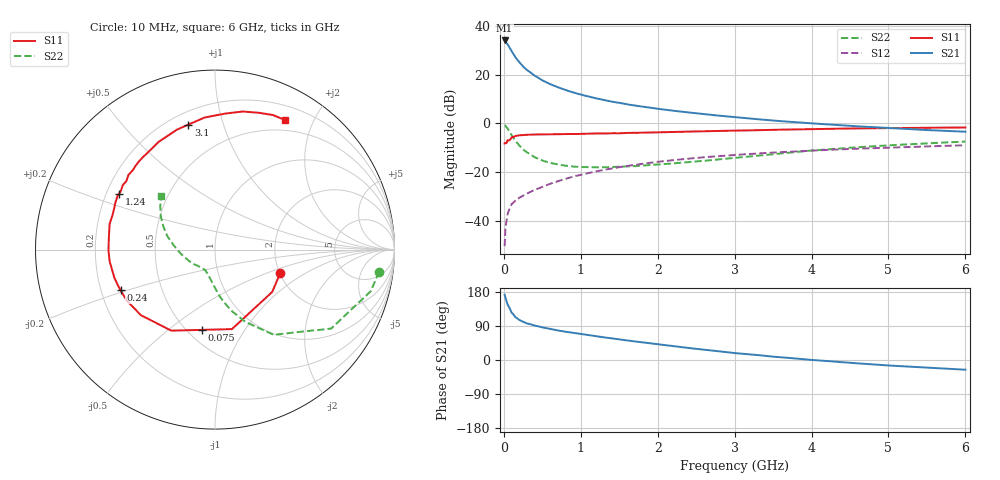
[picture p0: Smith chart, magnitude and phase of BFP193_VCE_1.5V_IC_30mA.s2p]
! Infineon Technologies  Discrete & RF Semiconductors
! BFP193
! VCE = 1.5 V,  IC =  30 mA
! Common Emitter S-Parameters:  Jan 2016
# GHz  S  MA  R  50
!  f  S11  S21  S12  S22
! GHz  MAG  ANG  MAG  ANG  MAG  ANG  MAG  ANG
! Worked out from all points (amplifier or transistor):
!   210 points, 10 MHz to 6 GHz, reference 50 ohm
!   highest |S21| = 34.0 dB at 10 MHz (marker M1)
!   |S21| within 3 dB of that: start of sweep to 74.72 MHz
!   unconditionally stable (mu >= 1): 571.5 MHz to 3.973 GHz
!   at 185 MHz: K = 0.61, MSG = 28.3 dB, |S12| = -30.9 dB
!   at 1.52 GHz: K = 1.08, MAG = 11.4 dB, |S12| = -17.9 dB
!   at 6 GHz: K = 0.95, MSG = 2.8 dB, |S12| = -9.0 dB
!   S11 on the Smith chart (normalised r, x): 10 MHz: 2.02, -0.61; 75 MHz: 0.59, -0.66; 240 MHz: 0.28, -0.19; 1.24 GHz: 0.25, +0.25; 3.1 GHz: 0.27, +0.77; 6 GHz: 0.37, +1.62
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0.01  0.3863 -19.5  50.36 172.5  0.003 85.4  0.9229 -7.7
0.02  0.3967 -36.5  48.34 164.1  0.0065 80.2  0.898 -15.0
0.05  0.4529 -78.0  41.78 145.6  0.0139 65.3  0.7825 -34.2
0.075  0.4535 -99.5  35.59 137.0  0.0177 59.3  0.6682 -43.2
0.1  0.5129 -118.3  30.5 125.2  0.0217 55.5  0.5765 -55.4
0.15  0.5512 -138.4  22.81 113.2  0.0261 52.3  0.4371 -67.2
0.2  0.568 -150.1  18.04 105.7  0.0296 51.5  0.3517 -75.1
0.24  0.5726 -156.8  15.36 101.6  0.032 52.3  0.3029 -79.6
0.3  0.5822 -164.3  12.46 96.6  0.036 54.4  0.2539 -85.2
0.4  0.5908 -173.7  9.527 90.9  0.0427 56.4  0.2017 -91.9
0.5  0.5934 -179.6  7.637 86.1  0.0494 58.5  0.1716 -97.4
0.6  0.5947 174.7  6.403 81.9  0.0571 60.0  0.1544 -102.1
0.7  0.5978 170.2  5.523 78.0  0.0644 60.6  0.1428 -106.2
0.8  0.6045 166.2  4.833 74.7  0.0724 60.3  0.1349 -110.1
1.02  0.607 157.6  3.821 67.9  0.0891 60.1  0.1265 -117.0
1.24  0.6186 150.0  3.159 61.5  0.1061 58.7  0.125 -124.1
1.6  0.6366 139.3  2.459 51.6  0.1331 55.3  0.1307 -134.3
2.02  0.6536 127.6  1.971 41.1  0.1632 50.4  0.1432 -146.6
3.1  0.7123 102.0  1.296 16.6  0.2295 36.7  0.2017 -177.0
4.1  0.7634 84.4  0.975 -1.2  0.2803 24.7  0.2837 162.3
5.1  0.8029 71.2  0.788 -15.6  0.3208 13.6  0.3599 147.2
6  0.8207 61.5  0.673 -25.6  0.3545 4.0  0.4224 135.3
